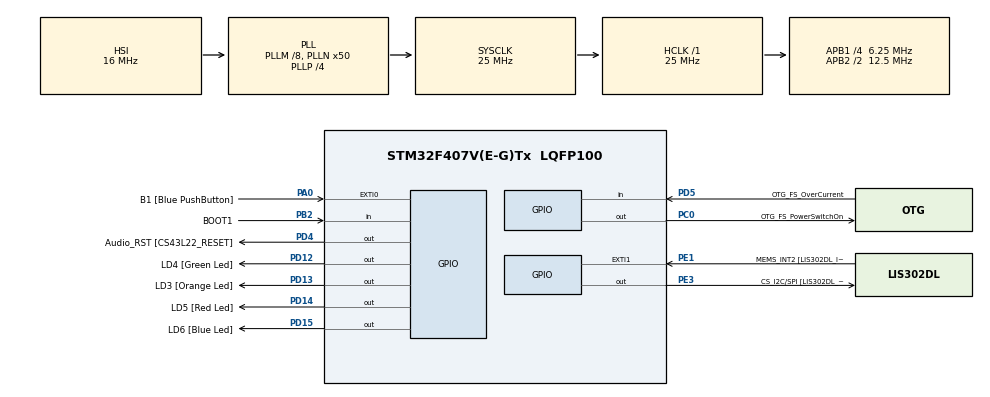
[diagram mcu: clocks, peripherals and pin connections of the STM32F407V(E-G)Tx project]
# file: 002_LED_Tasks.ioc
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Mcu.Family=STM32F4
Mcu.Name=STM32F407V(E-G)Tx
Mcu.Package=LQFP100
NVIC.PriorityGroup=NVIC_PRIORITYGROUP_4
NVIC.TIM6_DAC_IRQn=true\:0\:0\:false\:false\:true\:false\:true\:true
NVIC.TimeBase=TIM6_DAC_IRQn
NVIC.TimeBaseIP=TIM6
PA0-WKUP.GPIO_Label=B1 [Blue PushButton]
PA0-WKUP.Signal=GPXTI0
PA10.GPIO_Label=OTG_FS_ID
PA10.GPIO_Mode=GPIO_MODE_AF_PP
PA10.GPIO_PuPd=GPIO_NOPULL
PA10.GPIO_Speed=GPIO_SPEED_FREQ_LOW
PA10.Signal=USB_OTG_FS_ID
PA11.GPIO_Label=OTG_FS_DM
PA11.GPIO_Mode=GPIO_MODE_AF_PP
PA11.GPIO_PuPd=GPIO_NOPULL
PA11.GPIO_Speed=GPIO_SPEED_FREQ_LOW
PA11.Signal=USB_OTG_FS_DM
PA12.GPIO_Label=OTG_FS_DP
PA12.GPIO_Mode=GPIO_MODE_AF_PP
PA12.GPIO_PuPd=GPIO_NOPULL
PA12.GPIO_Speed=GPIO_SPEED_FREQ_LOW
PA12.Signal=USB_OTG_FS_DP
PA13.GPIO_Label=SWDIO
PA13.Signal=SYS_JTMS-SWDIO
PA14.GPIO_Label=SWCLK
PA14.Signal=SYS_JTCK-SWCLK
PA4.GPIO_Label=I2S3_WS [CS43L22_LRCK]
PA4.GPIO_Mode=GPIO_MODE_AF_PP
PA4.GPIO_PuPd=GPIO_NOPULL
PA4.GPIO_Speed=GPIO_SPEED_FREQ_LOW
PA4.Signal=I2S3_WS
PA5.GPIO_Label=SPI1_SCK [LIS302DL_SCL/SPC]
PA5.GPIO_Mode=GPIO_MODE_AF_PP
PA5.GPIO_PuPd=GPIO_NOPULL
PA5.GPIO_Speed=GPIO_SPEED_FREQ_LOW
PA5.Signal=SPI1_SCK
PA6.GPIO_Label=SPI1_MISO [LIS302DL_SDO]
PA6.GPIO_Mode=GPIO_MODE_AF_PP
PA6.GPIO_PuPd=GPIO_NOPULL
PA6.GPIO_Speed=GPIO_SPEED_FREQ_LOW
PA6.Signal=SPI1_MISO
PA7.GPIO_Label=SPI1_MOSI [LIS302DL_SDA/SDI/SDO]
PA7.GPIO_Mode=GPIO_MODE_AF_PP
PA7.GPIO_PuPd=GPIO_NOPULL
PA7.GPIO_Speed=GPIO_SPEED_FREQ_LOW
PA7.Signal=SPI1_MOSI
PA9.GPIO_Label=VBUS_FS
PA9.GPIO_Mode=GPIO_MODE_INPUT
PA9.GPIO_PuPd=GPIO_NOPULL
PA9.Signal=USB_OTG_FS_VBUS
PB10.GPIO_Label=CLK_IN [MP45DT02_CLK]
PB10.GPIO_Mode=GPIO_MODE_AF_PP
PB10.GPIO_PuPd=GPIO_NOPULL
PB10.GPIO_Speed=GPIO_SPEED_FREQ_LOW
PB10.Signal=I2S2_CK
PB2.GPIO_Label=BOOT1
PB2.GPIO_Mode=GPIO_MODE_INPUT
PB2.GPIO_PuPd=GPIO_NOPULL
PB2.Signal=GPIO_Input
PB3.GPIO_Label=SWO
PB3.Signal=SYS_JTDO-SWO
PB6.GPIO_Label=Audio_SCL [CS43L22_SCL]
PB6.GPIO_Mode=GPIO_MODE_AF_OD
PB6.GPIO_PuPd=GPIO_NOPULL
PB6.GPIO_Speed=GPIO_SPEED_FREQ_LOW
PB6.Signal=I2C1_SCL
PB9.GPIO_Label=Audio_SDA [CS43L22_SDA]
PB9.GPIO_Mode=GPIO_MODE_AF_OD
PB9.GPIO_PuPd=GPIO_NOPULL
PB9.GPIO_Speed=GPIO_SPEED_FREQ_LOW
PB9.Signal=I2C1_SDA
PC0.GPIO_Label=OTG_FS_PowerSwitchOn
PC0.GPIO_PuPd=GPIO_NOPULL
PC0.GPIO_Speed=GPIO_SPEED_FREQ_LOW
PC0.PinState=GPIO_PIN_SET
PC0.Signal=GPIO_Output
PC10.GPIO_Label=I2S3_SCK [CS43L22_SCLK]
PC10.GPIO_Mode=GPIO_MODE_AF_PP
PC10.GPIO_PuPd=GPIO_NOPULL
PC10.GPIO_Speed=GPIO_SPEED_FREQ_LOW
PC10.Signal=I2S3_CK
PC12.GPIO_Label=I2S3_SD [CS43L22_SDIN]
PC12.GPIO_Mode=GPIO_MODE_AF_PP
PC12.GPIO_PuPd=GPIO_NOPULL
PC12.GPIO_Speed=GPIO_SPEED_FREQ_LOW
PC12.Signal=I2S3_SD
PC14-OSC32_IN.GPIO_Label=PC14-OSC32_IN
PC14-OSC32_IN.Signal=RCC_OSC32_IN
PC15-OSC32_OUT.GPIO_Label=PC15-OSC32_OUT
PC15-OSC32_OUT.Signal=RCC_OSC32_OUT
PC3.GPIO_Label=PDM_OUT [MP45DT02_DOUT]
PC3.GPIO_Mode=GPIO_MODE_AF_PP
PC3.GPIO_PuPd=GPIO_NOPULL
PC3.GPIO_Speed=GPIO_SPEED_FREQ_LOW
PC3.Signal=I2S2_SD
PC7.GPIO_Label=I2S3_MCK [CS43L22_MCLK]
PC7.GPIO_Mode=GPIO_MODE_AF_PP
PC7.GPIO_PuPd=GPIO_NOPULL
PC7.GPIO_Speed=GPIO_SPEED_FREQ_LOW
PC7.Signal=I2S3_MCK
PD12.GPIO_Label=LD4 [Green Led]
PD12.GPIO_PuPd=GPIO_NOPULL
PD12.GPIO_Speed=GPIO_SPEED_FREQ_LOW
PD12.Signal=GPIO_Output
PD13.GPIO_Label=LD3 [Orange Led]
PD13.GPIO_PuPd=GPIO_NOPULL
PD13.GPIO_Speed=GPIO_SPEED_FREQ_LOW
PD13.Signal=GPIO_Output
PD14.GPIO_Label=LD5 [Red Led]
PD14.GPIO_PuPd=GPIO_NOPULL
PD14.GPIO_Speed=GPIO_SPEED_FREQ_LOW
PD14.Signal=GPIO_Output
PD15.GPIO_Label=LD6 [Blue Led]
PD15.GPIO_PuPd=GPIO_NOPULL
PD15.GPIO_Speed=GPIO_SPEED_FREQ_LOW
PD15.Signal=GPIO_Output
PD4.GPIO_Label=Audio_RST [CS43L22_RESET]
PD4.GPIO_PuPd=GPIO_NOPULL
PD4.GPIO_Speed=GPIO_SPEED_FREQ_LOW
PD4.Signal=GPIO_Output
PD5.GPIO_Label=OTG_FS_OverCurrent
PD5.GPIO_Mode=GPIO_MODE_INPUT
PD5.GPIO_PuPd=GPIO_NOPULL
PD5.Signal=GPIO_Input
PE1.GPIO_Label=MEMS_INT2 [LIS302DL_INT2]
PE1.GPIO_ModeDefaultEXTI=GPIO_MODE_EVT_RISING
PE1.GPIO_PuPd=GPIO_NOPULL
PE1.Signal=GPXTI1
PE3.GPIO_Label=CS_I2C/SPI [LIS302DL_CS_I2C/SPI]
PE3.GPIO_PuPd=GPIO_NOPULL
PE3.GPIO_Speed=GPIO_SPEED_FREQ_LOW
PE3.Signal=GPIO_Output
PH0-OSC_IN.GPIO_Label=PH0-OSC_IN
PH0-OSC_IN.Signal=RCC_OSC_IN
PH1-OSC_OUT.GPIO_Label=PH1-OSC_OUT
PH1-OSC_OUT.Signal=RCC_OSC_OUT
ProjectManager.HeapSize=0x200
ProjectManager.StackSize=0x400
ProjectManager.TargetToolchain=STM32CubeIDE
RCC.48MHZClocksFreq_Value=14285714.285714285
RCC.AHBFreq_Value=25000000
RCC.APB1CLKDivider=RCC_HCLK_DIV4
RCC.APB1Freq_Value=6250000
RCC.APB1TimFreq_Value=12500000
RCC.APB2CLKDivider=RCC_HCLK_DIV2
RCC.APB2Freq_Value=12500000
RCC.APB2TimFreq_Value=25000000
RCC.CortexFreq_Value=25000000
RCC.HCLKFreq_Value=25000000
RCC.HSE_VALUE=8000000
RCC.HSI_VALUE=16000000
RCC.LSE_VALUE=32768
RCC.PLLM=8
RCC.PLLN=50
RCC.PLLP=RCC_PLLP_DIV4
RCC.PLLQ=7
RCC.SYSCLKFreq_VALUE=25000000
RCC.SYSCLKSource=RCC_SYSCLKSOURCE_PLLCLK
RCC.VCOOutputFreq_Value=100000000
VP_SYS_VS_tim6.Mode=TIM6
board=STM32F407G-DISC1

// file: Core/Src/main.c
/* USER CODE BEGIN Header */
/**
  ******************************************************************************
  * @file           : main.c
  * @brief          : Main program body
  ******************************************************************************
  * @attention
  *
  * Copyright (c) 2026 STMicroelectronics.
  * All rights reserved.
  *
  * This software is licensed under terms that can be found in the LICENSE file
  * in the root directory of this software component.
  * If no LICENSE file comes with this software, it is provided AS-IS.
  *
  ******************************************************************************
  */
/* USER CODE END Header */
#include "main.h"

/* USER CODE BEGIN Includes */
#include "FreeRTOS.h"
#include "task.h"
#include <stdio.h>
/* USER CODE END Includes */

/* USER CODE BEGIN PD */
#define DWT_CTRL (*(volatile uint32_t*)0xE0001000)
/* USER CODE END PD */

/* USER CODE BEGIN PV */
TaskHandle_t volatile next_task_handle = NULL;
TaskHandle_t task1Handle;
TaskHandle_t task2Handle;
TaskHandle_t task3Handle;
TaskHandle_t btnTaskhandle;
/* USER CODE END PV */

void SystemClock_Config(void);
static void MX_GPIO_Init(void);
/* USER CODE BEGIN PFP */
static void led_green_handler(void *Parameters);
static void led_red_handler(void *Parameters);
static void led_orange_handler(void *Parameters);
static void btn_task_handler(void *Parameters);
/* USER CODE END PFP */

int main(void)
{

  /* USER CODE BEGIN 1 */
  BaseType_t status;
  /* USER CODE END 1 */

  /* MCU Configuration--------------------------------------------------------*/

  /* Reset of all peripherals, Initializes the Flash interface and the Systick. */
  HAL_Init();

  /* Configure the system clock */
  SystemClock_Config();

  /* Initialize all configured peripherals */
  MX_GPIO_Init();
  /* USER CODE BEGIN 2 */
  DWT_CTRL |= (1 << 0);

  SEGGER_SYSVIEW_Conf();
  SEGGER_SYSVIEW_Start();

  status = xTaskCreate(led_green_handler,"LedGreenTask",200,NULL,3,&task1Handle);
  configASSERT(status == pdPASS);

  next_task_handle = task1Handle;
  status = xTaskCreate(led_red_handler,"LedRedTask",200,NULL,2,&task2Handle);
  configASSERT(status == pdPASS);

  status = xTaskCreate(led_orange_handler,"LedOrangeTask",200,NULL,1,&task3Handle);
  configASSERT(status == pdPASS);

  status = xTaskCreate(btn_task_handler,"btnTask",200,NULL,4,&btnTaskhandle);
  configASSERT(status == pdPASS);

  //Start the scheduler
  vTaskStartScheduler();

  /* USER CODE END 2 */

  /* Infinite loop */
  while (1)
  {

  }
}

void SystemClock_Config(void)
{
  RCC_OscInitTypeDef RCC_OscInitStruct = {0};
  RCC_ClkInitTypeDef RCC_ClkInitStruct = {0};

  /** Configure the main internal regulator output voltage
  */
  __HAL_RCC_PWR_CLK_ENABLE();
  __HAL_PWR_VOLTAGESCALING_CONFIG(PWR_REGULATOR_VOLTAGE_SCALE1);

  /** Initializes the RCC Oscillators according to the specified parameters
  * in the RCC_OscInitTypeDef structure.
  */
  RCC_OscInitStruct.OscillatorType = RCC_OSCILLATORTYPE_HSI;
  RCC_OscInitStruct.HSIState = RCC_HSI_ON;
  RCC_OscInitStruct.HSICalibrationValue = RCC_HSICALIBRATION_DEFAULT;
  RCC_OscInitStruct.PLL.PLLState = RCC_PLL_ON;
  RCC_OscInitStruct.PLL.PLLSource = RCC_PLLSOURCE_HSI;
  RCC_OscInitStruct.PLL.PLLM = 8;
  RCC_OscInitStruct.PLL.PLLN = 50;
  RCC_OscInitStruct.PLL.PLLP = RCC_PLLP_DIV4;
  RCC_OscInitStruct.PLL.PLLQ = 7;
  if (HAL_RCC_OscConfig(&RCC_OscInitStruct) != HAL_OK)
  {
    Error_Handler();
  }

  /** Initializes the CPU, AHB and APB buses clocks
  */
  RCC_ClkInitStruct.ClockType = RCC_CLOCKTYPE_HCLK|RCC_CLOCKTYPE_SYSCLK
                              |RCC_CLOCKTYPE_PCLK1|RCC_CLOCKTYPE_PCLK2;
  RCC_ClkInitStruct.SYSCLKSource = RCC_SYSCLKSOURCE_PLLCLK;
  RCC_ClkInitStruct.AHBCLKDivider = RCC_SYSCLK_DIV1;
  RCC_ClkInitStruct.APB1CLKDivider = RCC_HCLK_DIV4;
  RCC_ClkInitStruct.APB2CLKDivider = RCC_HCLK_DIV2;

  if (HAL_RCC_ClockConfig(&RCC_ClkInitStruct, FLASH_LATENCY_0) != HAL_OK)
  {
    Error_Handler();
  }
}

static void MX_GPIO_Init(void)
{
  GPIO_InitTypeDef GPIO_InitStruct = {0};

  /* GPIO Ports Clock Enable */
  __HAL_RCC_GPIOE_CLK_ENABLE();
  __HAL_RCC_GPIOC_CLK_ENABLE();
  __HAL_RCC_GPIOH_CLK_ENABLE();
  __HAL_RCC_GPIOA_CLK_ENABLE();
  __HAL_RCC_GPIOB_CLK_ENABLE();
  __HAL_RCC_GPIOD_CLK_ENABLE();

  /*Configure GPIO pin Output Level */
  HAL_GPIO_WritePin(CS_I2C_SPI_GPIO_Port, CS_I2C_SPI_Pin, GPIO_PIN_RESET);

  /*Configure GPIO pin Output Level */
  HAL_GPIO_WritePin(OTG_FS_PowerSwitchOn_GPIO_Port, OTG_FS_PowerSwitchOn_Pin, GPIO_PIN_SET);

  /*Configure GPIO pin Output Level */
  HAL_GPIO_WritePin(GPIOD, LD4_Pin|LD3_Pin|LD5_Pin|LD6_Pin
                          |Audio_RST_Pin, GPIO_PIN_RESET);

  /*Configure GPIO pin : CS_I2C_SPI_Pin */
  GPIO_InitStruct.Pin = CS_I2C_SPI_Pin;
  GPIO_InitStruct.Mode = GPIO_MODE_OUTPUT_PP;
  GPIO_InitStruct.Pull = GPIO_NOPULL;
  GPIO_InitStruct.Speed = GPIO_SPEED_FREQ_LOW;
  HAL_GPIO_Init(CS_I2C_SPI_GPIO_Port, &GPIO_InitStruct);

  /*Configure GPIO pin : OTG_FS_PowerSwitchOn_Pin */
  GPIO_InitStruct.Pin = OTG_FS_PowerSwitchOn_Pin;
  GPIO_InitStruct.Mode = GPIO_MODE_OUTPUT_PP;
  GPIO_InitStruct.Pull = GPIO_NOPULL;
  GPIO_InitStruct.Speed = GPIO_SPEED_FREQ_LOW;
  HAL_GPIO_Init(OTG_FS_PowerSwitchOn_GPIO_Port, &GPIO_InitStruct);

  /*Configure GPIO pin : PDM_OUT_Pin */
  GPIO_InitStruct.Pin = PDM_OUT_Pin;
  GPIO_InitStruct.Mode = GPIO_MODE_AF_PP;
  GPIO_InitStruct.Pull = GPIO_NOPULL;
  GPIO_InitStruct.Speed = GPIO_SPEED_FREQ_LOW;
  GPIO_InitStruct.Alternate = GPIO_AF5_SPI2;
  HAL_GPIO_Init(PDM_OUT_GPIO_Port, &GPIO_InitStruct);

  /*Configure GPIO pin : B1_Pin */
  GPIO_InitStruct.Pin = B1_Pin;
  GPIO_InitStruct.Mode = GPIO_MODE_IT_RISING;
  GPIO_InitStruct.Pull = GPIO_NOPULL;
  HAL_GPIO_Init(B1_GPIO_Port, &GPIO_InitStruct);

  /*Configure GPIO pin : I2S3_WS_Pin */
  GPIO_InitStruct.Pin = I2S3_WS_Pin;
  GPIO_InitStruct.Mode = GPIO_MODE_AF_PP;
  GPIO_InitStruct.Pull = GPIO_NOPULL;
  GPIO_InitStruct.Speed = GPIO_SPEED_FREQ_LOW;
  GPIO_InitStruct.Alternate = GPIO_AF6_SPI3;
  HAL_GPIO_Init(I2S3_WS_GPIO_Port, &GPIO_InitStruct);

  /*Configure GPIO pins : SPI1_SCK_Pin SPI1_MISO_Pin SPI1_MOSI_Pin */
  GPIO_InitStruct.Pin = SPI1_SCK_Pin|SPI1_MISO_Pin|SPI1_MOSI_Pin;
  GPIO_InitStruct.Mode = GPIO_MODE_AF_PP;
  GPIO_InitStruct.Pull = GPIO_NOPULL;
  GPIO_InitStruct.Speed = GPIO_SPEED_FREQ_LOW;
  GPIO_InitStruct.Alternate = GPIO_AF5_SPI1;
  HAL_GPIO_Init(GPIOA, &GPIO_InitStruct);

  /*Configure GPIO pin : BOOT1_Pin */
  GPIO_InitStruct.Pin = BOOT1_Pin;
  GPIO_InitStruct.Mode = GPIO_MODE_INPUT;
  GPIO_InitStruct.Pull = GPIO_NOPULL;
  HAL_GPIO_Init(BOOT1_GPIO_Port, &GPIO_InitStruct);

  /*Configure GPIO pin : CLK_IN_Pin */
  GPIO_InitStruct.Pin = CLK_IN_Pin;
  GPIO_InitStruct.Mode = GPIO_MODE_AF_PP;
  GPIO_InitStruct.Pull = GPIO_NOPULL;
  GPIO_InitStruct.Speed = GPIO_SPEED_FREQ_LOW;
  GPIO_InitStruct.Alternate = GPIO_AF5_SPI2;
  HAL_GPIO_Init(CLK_IN_GPIO_Port, &GPIO_InitStruct);

  /*Configure GPIO pins : LD4_Pin LD3_Pin LD5_Pin LD6_Pin
                           Audio_RST_Pin */
  GPIO_InitStruct.Pin = LD4_Pin|LD3_Pin|LD5_Pin|LD6_Pin
                          |Audio_RST_Pin;
  GPIO_InitStruct.Mode = GPIO_MODE_OUTPUT_PP;
  GPIO_InitStruct.Pull = GPIO_NOPULL;
  GPIO_InitStruct.Speed = GPIO_SPEED_FREQ_LOW;
  HAL_GPIO_Init(GPIOD, &GPIO_InitStruct);

  /*Configure GPIO pins : I2S3_MCK_Pin I2S3_SCK_Pin I2S3_SD_Pin */
  GPIO_InitStruct.Pin = I2S3_MCK_Pin|I2S3_SCK_Pin|I2S3_SD_Pin;
  GPIO_InitStruct.Mode = GPIO_MODE_AF_PP;
  GPIO_InitStruct.Pull = GPIO_NOPULL;
  GPIO_InitStruct.Speed = GPIO_SPEED_FREQ_LOW;
  GPIO_InitStruct.Alternate = GPIO_AF6_SPI3;
  HAL_GPIO_Init(GPIOC, &GPIO_InitStruct);

  /*Configure GPIO pin : VBUS_FS_Pin */
  GPIO_InitStruct.Pin = VBUS_FS_Pin;
  GPIO_InitStruct.Mode = GPIO_MODE_INPUT;
  GPIO_InitStruct.Pull = GPIO_NOPULL;
  HAL_GPIO_Init(VBUS_FS_GPIO_Port, &GPIO_InitStruct);

  /*Configure GPIO pins : OTG_FS_ID_Pin OTG_FS_DM_Pin OTG_FS_DP_Pin */
  GPIO_InitStruct.Pin = OTG_FS_ID_Pin|OTG_FS_DM_Pin|OTG_FS_DP_Pin;
  GPIO_InitStruct.Mode = GPIO_MODE_AF_PP;
  GPIO_InitStruct.Pull = GPIO_NOPULL;
  GPIO_InitStruct.Speed = GPIO_SPEED_FREQ_LOW;
  GPIO_InitStruct.Alternate = GPIO_AF10_OTG_FS;
  HAL_GPIO_Init(GPIOA, &GPIO_InitStruct);

  /*Configure GPIO pin : OTG_FS_OverCurrent_Pin */
  GPIO_InitStruct.Pin = OTG_FS_OverCurrent_Pin;
  GPIO_InitStruct.Mode = GPIO_MODE_INPUT;
  GPIO_InitStruct.Pull = GPIO_NOPULL;
  HAL_GPIO_Init(OTG_FS_OverCurrent_GPIO_Port, &GPIO_InitStruct);

  /*Configure GPIO pins : Audio_SCL_Pin Audio_SDA_Pin */
  GPIO_InitStruct.Pin = Audio_SCL_Pin|Audio_SDA_Pin;
  GPIO_InitStruct.Mode = GPIO_MODE_AF_OD;
  GPIO_InitStruct.Pull = GPIO_NOPULL;
  GPIO_InitStruct.Speed = GPIO_SPEED_FREQ_LOW;
  GPIO_InitStruct.Alternate = GPIO_AF4_I2C1;
  HAL_GPIO_Init(GPIOB, &GPIO_InitStruct);

  /*Configure GPIO pin : MEMS_INT2_Pin */
  GPIO_InitStruct.Pin = MEMS_INT2_Pin;
  GPIO_InitStruct.Mode = GPIO_MODE_EVT_RISING;
  GPIO_InitStruct.Pull = GPIO_NOPULL;
  HAL_GPIO_Init(MEMS_INT2_GPIO_Port, &GPIO_InitStruct);

}

/* USER CODE BEGIN 4 */
static void led_green_handler(void *Parameters)
{
  BaseType_t status;
  while(1)
  {
	SEGGER_SYSVIEW_Print("Toggling LED green ");
    HAL_GPIO_TogglePin(GPIOD, LED_GREEN_PIN);
    status = xTaskNotifyWait(0, 0, NULL, pdMS_TO_TICKS(1000));
    if(status == pdTRUE)
    {
    	/**
    	 * Important because if tsk not suspended then it migh preemt to another task and on a
    	 * button press it might change the nex_task_handle to
    	 * another task and hence the current task will not be deleted,in that case.
    	 * */
    	vTaskSuspendAll();
    	next_task_handle = task2Handle;
    	xTaskResumeAll();
    	HAL_GPIO_WritePin(GPIOD, LED_GREEN_PIN, GPIO_PIN_SET);
    	vTaskDelete(NULL);
    }
  }
}
static void led_red_handler(void *Parameters)
{
  BaseType_t status;
  while(1)
  {
	  SEGGER_SYSVIEW_Print("Toggling LED red ");
	  HAL_GPIO_TogglePin(GPIOD, LED_RED_PIN);
	  status = xTaskNotifyWait(0, 0, NULL, pdMS_TO_TICKS(800));
	  if(status == pdTRUE)
	  {
		vTaskSuspendAll();
		next_task_handle = task3Handle;
		xTaskResumeAll();
		HAL_GPIO_WritePin(GPIOD, LED_RED_PIN, GPIO_PIN_SET);
		vTaskDelete(NULL);
	  }
  }
}
static void led_orange_handler(void *Parameters)
{
  BaseType_t status;
  while(1)
  {
      HAL_GPIO_TogglePin(GPIOD, LED_ORANGE_PIN);
      SEGGER_SYSVIEW_Print("Toggling LED orange ");
	  HAL_GPIO_TogglePin(GPIOD, LED_ORANGE_PIN);
	  status = xTaskNotifyWait(0, 0, NULL, pdMS_TO_TICKS(400));
	  if(status == pdTRUE)
	  {
		vTaskSuspendAll();
		next_task_handle = NULL;
		xTaskResumeAll();
		HAL_GPIO_WritePin(GPIOD, LED_ORANGE_PIN, GPIO_PIN_SET);
		vTaskDelete(btnTaskhandle);
		vTaskDelete(NULL);
	  }
  }
}

static void btn_task_handler(void *Parameters)
{
	uint8_t btn_read = 0;
	uint8_t prev_read = 0;
	while(1)
	{
		btn_read = HAL_GPIO_ReadPin(GPIOA, GPIO_PIN_0);
		if(btn_read)
		{
			if(! prev_read)
			{
				xTaskNotify(next_task_handle ,0,eNoAction );
			}

		}
		prev_read = btn_read;
		vTaskDelay(pdMS_TO_TICKS(10));
	}

}
/* USER CODE END 4 */

void HAL_TIM_PeriodElapsedCallback(TIM_HandleTypeDef *htim)
{
  if (htim->Instance == TIM6)
  {
    HAL_IncTick();
  }
}

void Error_Handler(void)
{
  __disable_irq();
  while (1)
  {
  }
}
